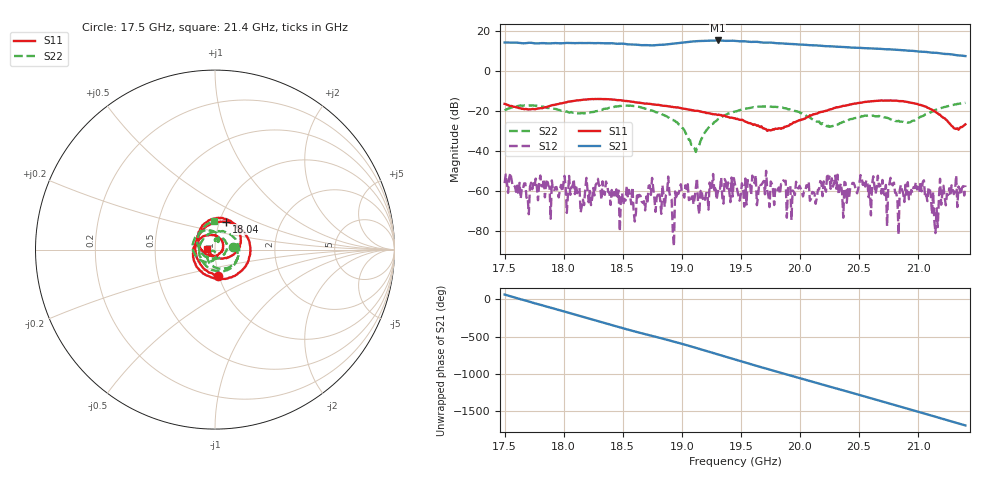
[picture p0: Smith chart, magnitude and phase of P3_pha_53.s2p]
!Created with skrf (http://scikit-rf.org).
# GHz S RI R 50.0
!freq ReS11 ImS11 ReS21 ImS21 ReS12 ImS12 ReS22 ImS22
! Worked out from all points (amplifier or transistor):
!   401 points, 17.5 GHz to 21.4 GHz, reference 50 ohm
!   highest |S21| = 15.1 dB at 19.3 GHz (marker M1)
!   |S21| within 3 dB of that: start of sweep to 20.28 GHz
!   unconditionally stable (mu >= 1): start of sweep to end of sweep
!   at 18.14 GHz: K = 339.71, MAG = 14.0 dB, |S12| = -70.9 dB
!   at 19.45 GHz: K = 60.93, MAG = 15.0 dB, |S12| = -56.8 dB
!   at 21.4 GHz: K = 152.31, MAG = 7.5 dB, |S12| = -57.2 dB
!   S11 on the Smith chart (normalised r, x): 17.5 GHz: 0.99, -0.30; 18.04 GHz: 1.08, +0.35; 21.4 GHz: 0.91, +0.00
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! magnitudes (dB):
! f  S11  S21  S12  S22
! 17.5 GHz  -16.6  14.1  -56.1  -19.8
! 18.04 GHz  -15.5  13.9  -61.5  -20.6
! 18.15 GHz  -14.6  13.8  -67.6  -21.2
! 18.29 GHz  -14.1  13.8  -54.0  -20.0
! 18.49 GHz  -14.9  13.5  -61.1  -17.4
! 18.69 GHz  -16.4  12.8  -69.7  -18.9
! 18.74 GHz  -16.6  12.7  -62.0  -19.8
! 18.81 GHz  -17.1  12.9  -60.5  -21.2
! 18.93 GHz  -18.3  13.6  -87.6  -24.9
! 19.12 GHz  -20.0  14.7  -58.7  -40.6
! 19.3 GHz  -22.1  15.1  -60.9  -24.3
! 19.45 GHz  -23.7  14.9  -56.8  -20.3
! 19.74 GHz  -29.6  14.1  -68.1  -17.8
! 20.1 GHz  -22.1  12.7  -60.5  -24.3
! 20.25 GHz  -19.4  12.2  -52.8  -28.0
! 20.35 GHz  -17.9  11.9  -56.2  -26.1
! 20.52 GHz  -15.9  11.4  -53.7  -22.6
! 20.76 GHz  -14.9  10.7  -56.6  -23.9
! 21.03 GHz  -17.2  9.5  -60.2  -22.7
! 21.16 GHz  -21.0  9.0  -68.7  -19.4
! 21.2 GHz  -22.7  8.6  -66.9  -18.6
! 21.4 GHz  -26.7  7.3  -57.2  -16.0
